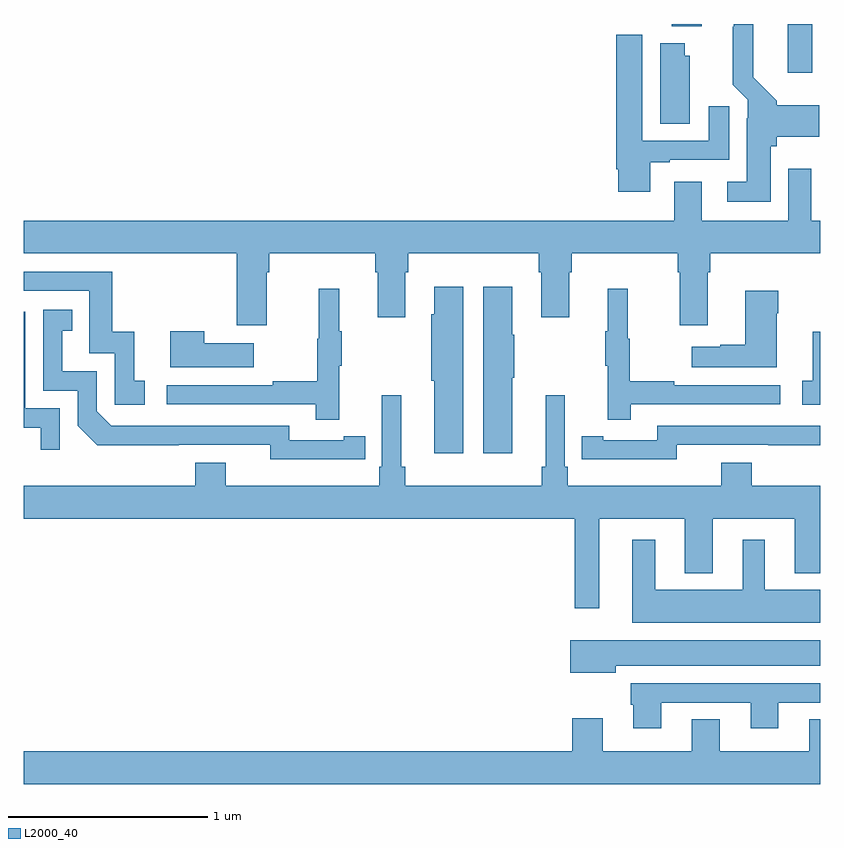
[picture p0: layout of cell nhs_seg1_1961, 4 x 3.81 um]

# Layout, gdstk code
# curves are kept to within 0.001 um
import gdstk
lib = gdstk.Library(unit=1e-6, precision=1e-09)
def R(c, l, rs):  # rectangles x0, y0, x1, y1
    for r in rs: c.add(gdstk.rectangle(r[:2], r[2:], *l))
def P(c, l, *ps):  # polygons
    for p in ps: c.add(gdstk.Polygon(p, *l))
L2000_40 = (2000, 40)

nhs_seg1_1961 = lib.new_cell('nhs_seg1_1961')
R(nhs_seg1_1961, L2000_40, [(220.835,569.955,220.958,570.199), (220.253,570.188,220.405,570.199)])
P(nhs_seg1_1961, L2000_40, [(220.75,569.586),(220.781,569.586),(220.781,569.633),(220.993,569.633),(220.993,569.791),(220.781,569.791),(220.781,569.814),(220.663,569.932),(220.663,570.199),(220.565,570.199),(220.565,570.185),(220.561,570.185),(220.561,569.894),(220.635,569.82),(220.635,569.726),(220.631,569.726),(220.631,569.407),(220.533,569.407),(220.533,569.306),(220.75,569.306)],
  [(220.147,569.505),(220.243,569.505),(220.243,569.517),(220.543,569.517),(220.543,569.785),(220.439,569.785),(220.439,569.613),(220.105,569.613),(220.105,570.145),(219.974,570.145),(219.974,569.47),(219.986,569.47),(219.986,569.358),(220.147,569.358)],
  [(220.345,570.039),(220.318,570.039),(220.318,570.103),(220.196,570.103),(220.196,569.698),(220.345,569.698)],
  [(217,569.048),(218.069,569.048),(218.069,568.686),(218.221,568.686),(218.221,568.952),(218.234,568.952),(218.234,569.048),(218.765,569.048),(218.765,568.952),(218.777,568.952),(218.777,568.728),(218.917,568.728),(218.917,568.952),(218.93,568.952),(218.93,569.048),(219.587,569.048),(219.587,568.952),(219.599,568.952),(219.599,568.728),(219.739,568.728),(219.739,568.952),(219.752,568.952),(219.752,569.048),(220.283,569.048),(220.283,568.952),(220.295,568.952),(220.295,568.686),(220.435,568.686),(220.435,568.952),(220.448,568.952),(220.448,569.048),(221,569.048),(221,569.212),(220.955,569.212),(220.955,569.473),(220.839,569.473),(220.839,569.212),(220.405,569.212),(220.405,569.407),(220.265,569.407),(220.265,569.212),(217,569.212)],
  [(217.609,568.407),(217.556,568.407),(217.556,568.654),(217.445,568.654),(217.445,568.956),(217,568.956),(217,568.86),(217.329,568.86),(217.329,568.545),(217.458,568.545),(217.458,568.287),(217.609,568.287)],
  [(219.208,568.879),(219.062,568.879),(219.062,568.743),(219.047,568.743),(219.047,568.407),(219.062,568.407),(219.062,568.044),(219.208,568.044)],
  [(219.454,568.423),(219.462,568.423),(219.462,568.64),(219.454,568.64),(219.454,568.879),(219.308,568.879),(219.308,568.044),(219.454,568.044)],
  [(218.585,568.483),(218.596,568.483),(218.596,568.657),(218.585,568.657),(218.585,568.87),(218.482,568.87),(218.482,568.62),(218.475,568.62),(218.475,568.406),(218.251,568.406),(218.251,568.386),(217.719,568.386),(217.719,568.29),(218.467,568.29),(218.467,568.212),(218.585,568.212)],
  [(220.049,568.29),(220.798,568.29),(220.798,568.386),(220.265,568.386),(220.265,568.406),(220.042,568.406),(220.042,568.62),(220.034,568.62),(220.034,568.87),(219.932,568.87),(219.932,568.657),(219.921,568.657),(219.921,568.483),(219.932,568.483),(219.932,568.212),(220.049,568.212)],
  [(220.78,568.748),(220.788,568.748),(220.788,568.861),(220.622,568.861),(220.622,568.589),(220.496,568.589),(220.496,568.579),(220.353,568.579),(220.353,568.475),(220.78,568.475)],
  [(218.606,568.014),(218.714,568.014),(218.714,568.13),(218.606,568.13),(218.606,568.11),(218.334,568.11),(218.334,568.182),(217.44,568.182),(217.368,568.254),(217.368,568.455),(217.195,568.455),(217.195,568.659),(217.244,568.659),(217.244,568.765),(217.098,568.765),(217.098,568.359),(217.272,568.359),(217.272,568.182),(217.37,568.085),(218.238,568.086),(218.238,568.013)],
  [(217.182,568.269),(217.008,568.269),(217.008,568.755),(217,568.755),(217,568.173),(217.085,568.173),(217.085,568.062),(217.182,568.062)],
  [(218.155,568.597),(217.907,568.597),(217.907,568.657),(217.736,568.657),(217.736,568.475),(218.155,568.475)],
  [(221,568.654),(220.961,568.654),(220.961,568.407),(220.908,568.407),(220.908,568.287),(221,568.287)],
  [(219.889,567.716),(220.319,567.716),(220.319,567.443),(220.459,567.443),(220.459,567.716),(220.871,567.716),(220.871,567.443),(221,567.443),(221,567.88),(220.655,567.88),(220.655,567.997),(220.502,567.997),(220.502,567.88),(219.731,567.88),(219.731,567.976),(219.717,567.976),(219.717,568.336),(219.62,568.336),(219.62,567.976),(219.601,567.976),(219.601,567.88),(218.915,567.88),(218.915,567.976),(218.896,567.976),(218.896,568.336),(218.799,568.336),(218.799,567.976),(218.786,567.976),(218.786,567.88),(218.014,567.88),(218.014,567.997),(217.862,567.997),(217.862,567.88),(217,567.88),(217,567.716),(219.768,567.716),(219.768,567.267),(219.889,567.267)],
  [(220.278,568.086),(220.738,568.086),(220.738,568.085),(221,568.085),(221,568.182),(220.182,568.182),(220.182,568.11),(219.91,568.11),(219.91,568.13),(219.802,568.13),(219.802,568.014),(219.91,568.014),(219.91,568.013),(220.278,568.013)],
  [(221,567.358),(220.72,567.358),(220.72,567.61),(220.61,567.61),(220.61,567.358),(220.171,567.358),(220.171,567.61),(220.055,567.61),(220.055,567.194),(221,567.194)],
  [(219.973,566.978),(221,566.978),(221,567.106),(219.744,567.106),(219.744,566.942),(219.973,566.942)],
  [(220.201,566.793),(220.649,566.793),(220.649,566.664),(220.789,566.664),(220.789,566.793),(221,566.793),(221,566.889),(220.049,566.889),(220.049,566.781),(220.061,566.781),(220.061,566.664),(220.201,566.664)],
  [(221,566.708),(220.943,566.708),(220.943,566.548),(220.495,566.548),(220.495,566.708),(220.355,566.708),(220.355,566.548),(219.907,566.548),(219.907,566.713),(219.755,566.713),(219.755,566.548),(217,566.548),(217,566.384),(221,566.384)])

lib.write_gds('nhs_seg1_1961.gds')
